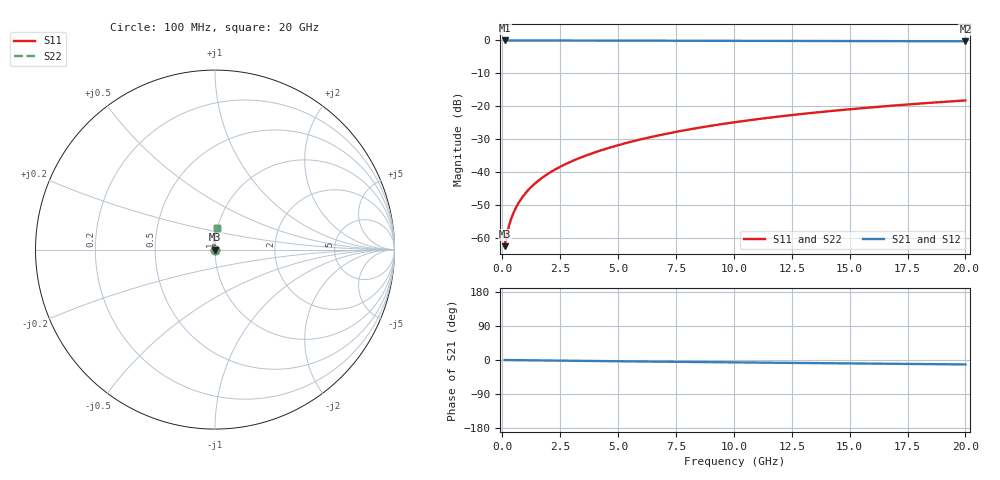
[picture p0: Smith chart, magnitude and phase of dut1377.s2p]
! Touchstone file exported from HFSS 2024.1.0
!  File:  C:/UserFiles/LocalFiles/RDL_TSV_Batchsim/temp_RDL_bottom_1377_1780371416.aedt
!  Generated:  11:39:08 AM Jun  2, 2026
!  Design:  RDL_bottom
!  Project:  temp_RDL_bottom_1377_1780371416
!  Setup:  Setup1
!  Solution:  Sweep
! Variables:
!  dtsv = 10.80580581um
!  hbump = 3um
!  htsv = 83.97um
!  ldown = 137.89um
!  lrdl = 100um
!  p = 40
!  p1 = 57.35um
!  rhole = 1um
!  t = 450um
!  tdown = 4.69um
!  trdl = 3.915915916um
!  wdown = 29.72um
!  wrdl = 20um
# GHz S MA R 50.000000
! Terminal data exported
! Port[1] = RDL1_T1
! Port[2] = RDL1_T2
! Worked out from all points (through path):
!   200 points, 100 MHz to 20 GHz, reference 50 ohm
!   highest |S21| = 0.00 dB at 100 MHz (marker M1); lowest = -0.2 dB at 20 GHz (marker M2)
!   group delay of S21, straight-line fit = 1.6 ps
!   lowest |S11| = -62.4 dB at 100 MHz (marker M3), VSWR 1.00, Z = 50.1 + j0.0528 ohm
!   |S11| at or under -10 dB: start of sweep to end of sweep
!   |S22| runs from -62.4 to -18.2 dB; largest |S21 - S12| = 3.1e-15
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0.1  0.0007551 44.3  0.9995 -0.1  0.9995 -0.1  0.0007551 44.3
! Gamma 0 0 0 0
! Port Impedance 50 0 50 0
0.2  0.001168 60.4  0.9994 -0.1  0.9994 -0.1  0.001168 60.4
0.3  0.0016 68.1  0.9994 -0.2  0.9994 -0.2  0.0016 68.1
0.4  0.002041 72.8  0.9993 -0.3  0.9993 -0.3  0.002041 72.8
0.5  0.002489 76.0  0.9993 -0.4  0.9993 -0.4  0.002489 76.0
0.6  0.002943 78.4  0.9992 -0.4  0.9992 -0.4  0.002943 78.4
0.8  0.003865 81.7  0.9991 -0.6  0.9991 -0.6  0.003865 81.7
1.1  0.005271 84.7  0.999 -0.8  0.999 -0.8  0.005271 84.7
1.5  0.007179 87.2  0.9986 -1.1  0.9986 -1.1  0.007179 87.2
1.8  0.008633 88.5  0.9984 -1.3  0.9984 -1.3  0.008633 88.5
2.1  0.01011 89.5  0.998 -1.5  0.998 -1.5  0.01011 89.5
2.7  0.01313 91.1  0.9973 -1.9  0.9973 -1.9  0.01313 91.1
3.5  0.01732 92.6  0.9961 -2.4  0.9961 -2.4  0.01732 92.6
4.2  0.02115 93.5  0.995 -2.8  0.995 -2.8  0.02115 93.5
5  0.0257 94.1  0.9936 -3.3  0.9936 -3.3  0.0257 94.1
6.8  0.03656 94.4  0.9904 -4.4  0.9904 -4.4  0.03656 94.4
8.4  0.04673 93.8  0.9876 -5.4  0.9876 -5.4  0.04673 93.8
10.1  0.05782 92.8  0.9849 -6.3  0.9849 -6.3  0.05783 92.8
11.7  0.0684 91.6  0.9826 -7.2  0.9826 -7.2  0.0684 91.6
13.4  0.07968 90.3  0.9802 -8.1  0.9802 -8.1  0.07968 90.3
16.7  0.1015 87.6  0.976 -9.9  0.976 -9.9  0.1015 87.6
20  0.123 85.0  0.9719 -11.7  0.9719 -11.7  0.123 85.0
